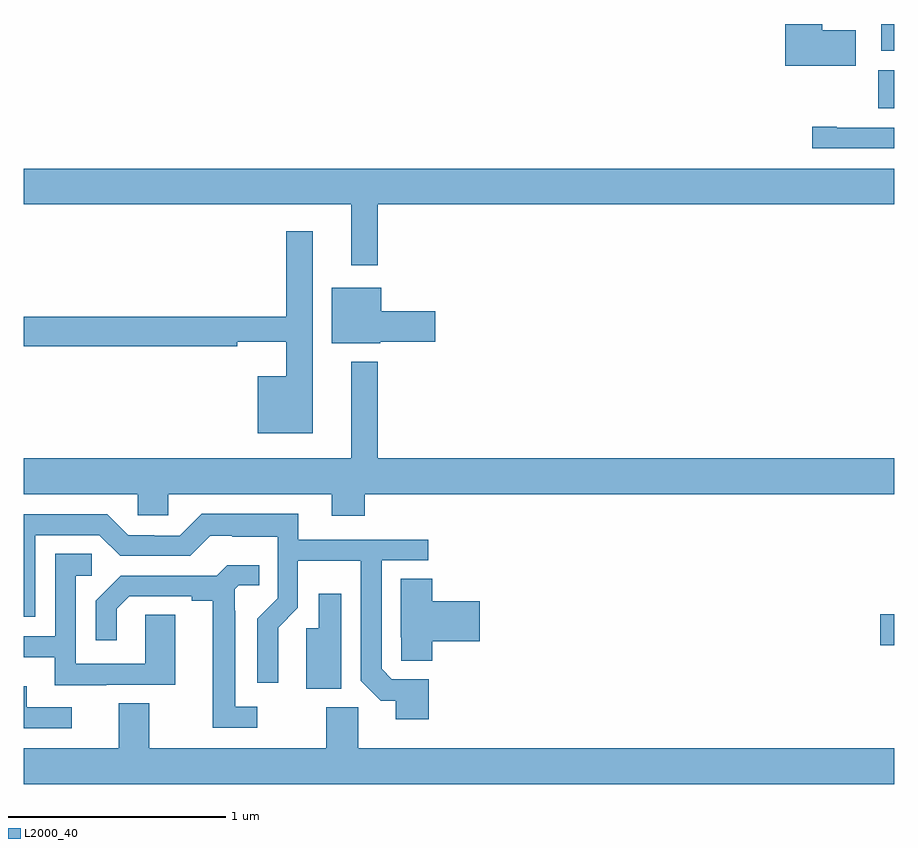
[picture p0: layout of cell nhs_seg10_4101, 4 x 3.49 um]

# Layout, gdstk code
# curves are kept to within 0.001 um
import gdstk
lib = gdstk.Library(unit=1e-6, precision=1e-09)
def R(c, l, rs):  # rectangles x0, y0, x1, y1
    for r in rs: c.add(gdstk.rectangle(r[:2], r[2:], *l))
def P(c, l, *ps):  # polygons
    for p in ps: c.add(gdstk.Polygon(p, *l))
L2000_40 = (2000, 40)

nhs_seg10_4101 = lib.new_cell('nhs_seg10_4101')
R(nhs_seg10_4101, L2000_40, [(342.936,1275.646,343,1275.788), (342.926,1278.113,343,1278.288), (342.941,1278.377,343,1278.5)])
P(nhs_seg10_4101, L2000_40, [(342.823,1278.471),(342.67,1278.471),(342.67,1278.5),(342.5,1278.5),(342.5,1278.308),(342.823,1278.308)],
  [(343,1278.024),(342.736,1278.024),(342.736,1278.029),(342.624,1278.029),(342.624,1277.928),(343,1277.928)],
  [(340.627,1277.672),(343,1277.672),(343,1277.836),(339,1277.836),(339,1277.672),(340.505,1277.672),(340.505,1277.391),(340.627,1277.391)],
  [(340.327,1277.548),(340.206,1277.548),(340.206,1277.156),(339,1277.156),(339,1277.02),(339.98,1277.02),(339.98,1277.039),(340.206,1277.039),(340.206,1276.882),(340.076,1276.882),(340.076,1276.619),(340.327,1276.619)],
  [(340.638,1277.039),(340.891,1277.039),(340.891,1277.181),(340.642,1277.181),(340.642,1277.287),(340.415,1277.287),(340.415,1277.033),(340.638,1277.033)],
  [(340.568,1276.34),(343,1276.34),(343,1276.504),(340.627,1276.504),(340.627,1276.948),(340.505,1276.948),(340.505,1276.504),(339,1276.504),(339,1276.34),(339.525,1276.34),(339.525,1276.242),(339.663,1276.242),(339.663,1276.34),(340.415,1276.34),(340.415,1276.241),(340.568,1276.241)],
  [(340.862,1275.489),(340.692,1275.489),(340.644,1275.537),(340.644,1276.035),(340.858,1276.035),(340.858,1276.131),(340.261,1276.131),(340.261,1276.249),(339.817,1276.249),(339.717,1276.149),(339.6,1276.149),(339.6,1276.152),(339.48,1276.152),(339.384,1276.248),(339,1276.248),(339,1275.776),(339.054,1275.776),(339.054,1276.152),(339.348,1276.152),(339.444,1276.056),(339.765,1276.056),(339.858,1276.149),(339.958,1276.149),(339.958,1276.145),(340.167,1276.145),(340.167,1275.861),(340.074,1275.768),(340.074,1275.474),(340.17,1275.474),(340.169,1275.726),(340.26,1275.818),(340.26,1276.034),(340.548,1276.034),(340.548,1275.483),(340.641,1275.391),(340.709,1275.391),(340.709,1275.306),(340.862,1275.306)],
  [(339.379,1275.465),(339.697,1275.465),(339.697,1275.785),(339.558,1275.785),(339.558,1275.561),(339.24,1275.561),(339.24,1275.966),(339.313,1275.966),(339.313,1276.067),(339.144,1276.067),(339.144,1275.687),(339,1275.687),(339,1275.59),(339.143,1275.59),(339.143,1275.461),(339.379,1275.461)],
  [(340.072,1275.363),(339.973,1275.363),(339.973,1275.803),(339.969,1275.803),(339.969,1275.903),(339.987,1275.921),(340.082,1275.921),(340.082,1276.013),(339.936,1276.013),(339.888,1275.966),(339.446,1275.966),(339.33,1275.85),(339.33,1275.669),(339.427,1275.669),(339.427,1275.813),(339.484,1275.87),(339.773,1275.87),(339.773,1275.85),(339.869,1275.85),(339.869,1275.267),(340.072,1275.267)],
  [(340.877,1275.665),(341.095,1275.665),(341.095,1275.848),(340.877,1275.848),(340.877,1275.95),(340.733,1275.95),(340.733,1275.682),(340.734,1275.682),(340.734,1275.574),(340.877,1275.574)],
  [(340.459,1275.883),(340.355,1275.883),(340.355,1275.723),(340.298,1275.723),(340.298,1275.445),(340.459,1275.445)],
  [(339.22,1275.36),(339.013,1275.36),(339.013,1275.457),(339,1275.457),(339,1275.264),(339.22,1275.264)],
  [(343,1275.172),(340.536,1275.172),(340.536,1275.36),(340.39,1275.36),(340.39,1275.172),(339.577,1275.172),(339.577,1275.38),(339.437,1275.38),(339.437,1275.172),(339,1275.172),(339,1275.008),(343,1275.008)])

lib.write_gds('nhs_seg10_4101.gds')
